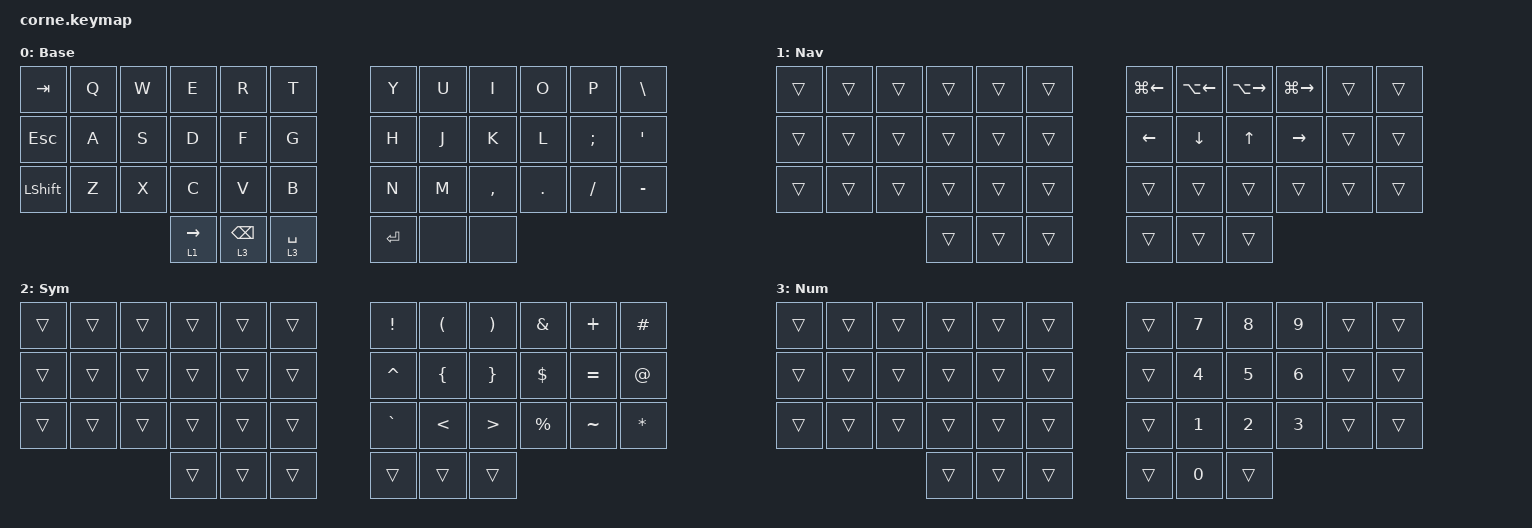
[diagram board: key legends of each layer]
/*
 * Copyright (c) 2020 The ZMK Contributors
 *
 * SPDX-License-Identifier: MIT
 */

#include <behaviors.dtsi>
#include <dt-bindings/zmk/keys.h>

/ {
    behaviors {
        shift_caps_lock: shift_caps_lock {
            compatible = "zmk,behavior-tap-dance";
            label = "SHIFT_CAPS_LOCK";
            #binding-cells = <0>;
            bindings = <&mt LEFT_SHIFT LEFT_SHIFT>, <&kp CAPS>;
        };
    };

    keymap {
        compatible = "zmk,keymap";

        default_layer {
            // -----------------------------------------------------------------------------------------
            // |  TAB |  Q  |  W  |  E  |  R  |  T  |   |  Y  |  U   |  I  |  O  |  P  | BKSP |
            // | CTRL |  A  |  S  |  D  |  F  |  G  |   |  H  |  J   |  K  |  L  |  ;  |  '   |
            // | SHFT |  Z  |  X  |  C  |  V  |  B  |   |  N  |  M   |  ,  |  .  |  /  | ESC  |
            //                    | GUI | LWR | SPC |   | ENT | RSE  | ALT |

            display-name = "Base";
            bindings = <
&kp TAB         &kp Q  &kp W  &kp E        &kp R            &kp T          &kp Y    &kp U  &kp I      &kp O    &kp P     &kp BSLH
&kp ESCAPE      &kp A  &kp S  &kp D        &kp F            &kp G          &kp H    &kp J  &kp K      &kp L    &kp SEMI  &kp SQT
&kp LEFT_SHIFT  &kp Z  &kp X  &kp C        &kp V            &kp B          &kp N    &kp M  &kp COMMA  &kp DOT  &kp FSLH  &kp MINUS
                              &lt 1 RIGHT  &lt 3 BACKSPACE  &lt 3 SPACE    &kp RET  &none  &none
            >;

            label = "Base";
        };

        navigation_layer {
            // -----------------------------------------------------------------------------------------
            // |  TAB |  1  |  2  |  3  |  4  |  5  |   |  6  |  7  |  8  |  9  |  0  | BKSP |
            // | BTCLR| BT1 | BT2 | BT3 | BT4 | BT5 |   | LFT | DWN |  UP | RGT |     |      |
            // | SHFT |     |     |     |     |     |   |     |     |     |     |     |      |
            //                    | GUI |     | SPC |   | ENT |     | ALT |

            display-name = "Nav";
            bindings = <
&trans  &trans  &trans  &trans  &trans  &trans    &kp LG(LEFT)  &kp LA(LEFT)  &kp LA(RIGHT)  &kp LG(RIGHT)  &trans  &trans
&trans  &trans  &trans  &trans  &trans  &trans    &kp LEFT      &kp DOWN      &kp UP         &kp RIGHT      &trans  &trans
&trans  &trans  &trans  &trans  &trans  &trans    &trans        &trans        &trans         &trans         &trans  &trans
                        &trans  &trans  &trans    &trans        &trans        &trans
            >;
        };

        symbol_layer {
            // -----------------------------------------------------------------------------------------
            // |  TAB |  !  |  @  |  #  |  $  |  %  |   |  ^  |  &  |  *  |  (  |  )  | BKSP |
            // | CTRL |     |     |     |     |     |   |  -  |  =  |  [  |  ]  |  \  |  `   |
            // | SHFT |     |     |     |     |     |   |  _  |  +  |  {  |  }  | "|" |  ~   |
            //                    | GUI |     | SPC |   | ENT |     | ALT |

            display-name = "Sym";
            bindings = <
&trans  &trans  &trans  &trans  &trans  &trans    &kp EXCLAMATION  &kp LEFT_PARENTHESIS  &kp RIGHT_PARENTHESIS  &kp AMPERSAND  &kp PLUS   &kp HASH
&trans  &trans  &trans  &trans  &trans  &trans    &kp CARET        &kp LEFT_BRACE        &kp RIGHT_BRACE        &kp DOLLAR     &kp EQUAL  &kp AT_SIGN
&trans  &trans  &trans  &trans  &trans  &trans    &kp GRAVE        &kp LESS_THAN         &kp GREATER_THAN       &kp PERCENT    &kp TILDE  &kp ASTERISK
                        &trans  &trans  &trans    &trans           &trans                &trans
            >;
        };

        number_layer {
            bindings = <
&trans  &trans  &trans  &trans  &trans  &trans    &trans  &kp N7  &kp N8  &kp N9  &trans  &trans
&trans  &trans  &trans  &trans  &trans  &trans    &trans  &kp N4  &kp N5  &kp N6  &trans  &trans
&trans  &trans  &trans  &trans  &trans  &trans    &trans  &kp N1  &kp N2  &kp N3  &trans  &trans
                        &trans  &trans  &trans    &trans  &kp N0  &trans
            >;

            label = "Num";
        };
    };
};
